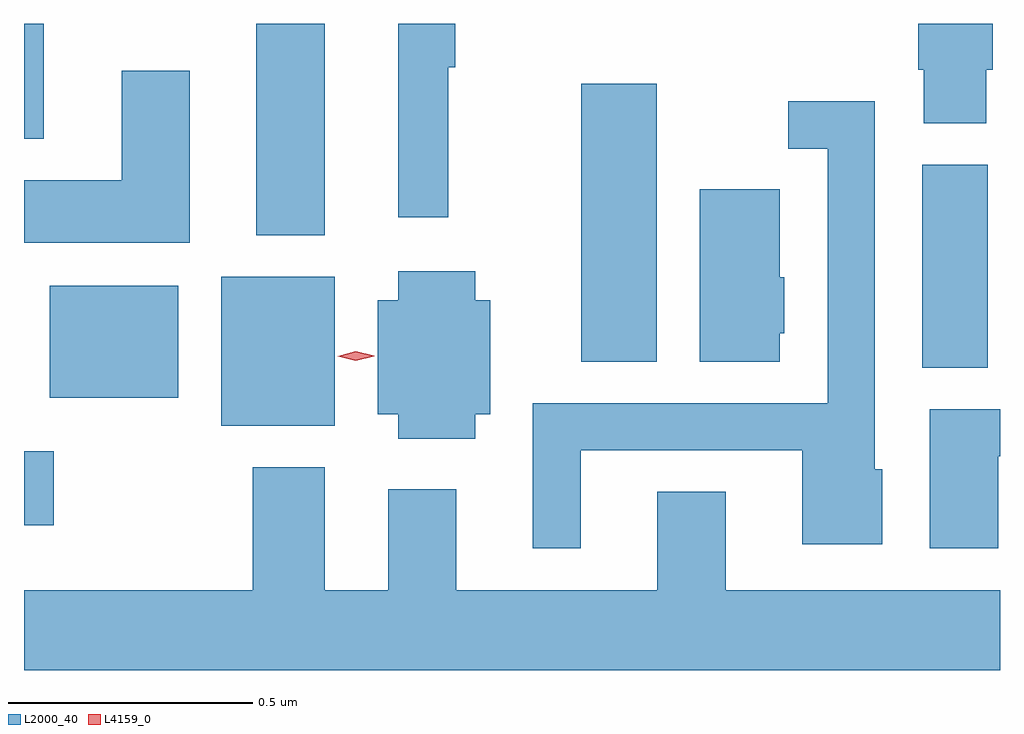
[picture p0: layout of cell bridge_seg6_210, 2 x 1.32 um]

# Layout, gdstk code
import gdstk
lib = gdstk.Library(unit=1e-6, precision=1e-09)
def R(c, l, rs):  # rectangles x0, y0, x1, y1
    for r in rs: c.add(gdstk.rectangle(r[:2], r[2:], *l))
def P(c, l, *ps):  # polygons
    for p in ps: c.add(gdstk.Polygon(p, *l))
L2000_40 = (2000, 40)
L4159_0 = (4159, 0)

bridge_seg6_210 = lib.new_cell('bridge_seg6_210')
R(bridge_seg6_210, L2000_40, [(195.045,960.953,195.106,961.105), (195.449,961.157,195.682,961.462), (195.098,961.214,195.361,961.444), (196.886,961.276,197.02,961.692), (196.187,961.288,196.342,961.858), (195.521,961.547,195.661,961.981), (195.045,961.745,195.085,961.981)])
P(bridge_seg6_210, L2000_40, [(195.914,961.892),(195.929,961.892),(195.929,961.981),(195.812,961.981),(195.812,961.584),(195.914,961.584)],
  [(197.017,961.887),(197.03,961.887),(197.03,961.981),(196.877,961.981),(196.877,961.887),(196.889,961.887),(196.889,961.777),(197.017,961.777)],
  [(195.385,961.885),(195.245,961.885),(195.245,961.66),(195.045,961.66),(195.045,961.532),(195.385,961.532)],
  [(196.186,961.107),(196.64,961.107),(196.64,960.914),(196.804,960.914),(196.804,961.068),(196.788,961.068),(196.788,961.822),(196.611,961.822),(196.611,961.725),(196.692,961.725),(196.692,961.203),(196.088,961.203),(196.088,960.906),(196.186,960.906)],
  [(196.594,961.347),(196.603,961.347),(196.603,961.461),(196.594,961.461),(196.594,961.642),(196.43,961.642),(196.43,961.288),(196.594,961.288)],
  [(195.97,961.181),(196,961.181),(196,961.414),(195.97,961.414),(195.97,961.474),(195.812,961.474),(195.812,961.414),(195.77,961.414),(195.77,961.181),(195.812,961.181),(195.812,961.13),(195.97,961.13)],
  [(197.041,961.095),(197.045,961.095),(197.045,961.191),(196.901,961.191),(196.901,960.906),(197.041,960.906)],
  [(197.045,960.82),(196.483,960.82),(196.483,961.022),(196.343,961.022),(196.343,960.82),(195.931,960.82),(195.931,961.027),(195.791,961.027),(195.791,960.82),(195.661,960.82),(195.661,961.072),(195.514,961.072),(195.514,960.82),(195.045,960.82),(195.045,960.656),(197.045,960.656)])
P(bridge_seg6_210, L4159_0, [(195.725,961.29),(195.688,961.3),(195.688,961.3),(195.688,961.3),(195.725,961.31),(195.763,961.301),(195.763,961.3),(195.763,961.3)])

lib.write_gds('bridge_seg6_210.gds')
